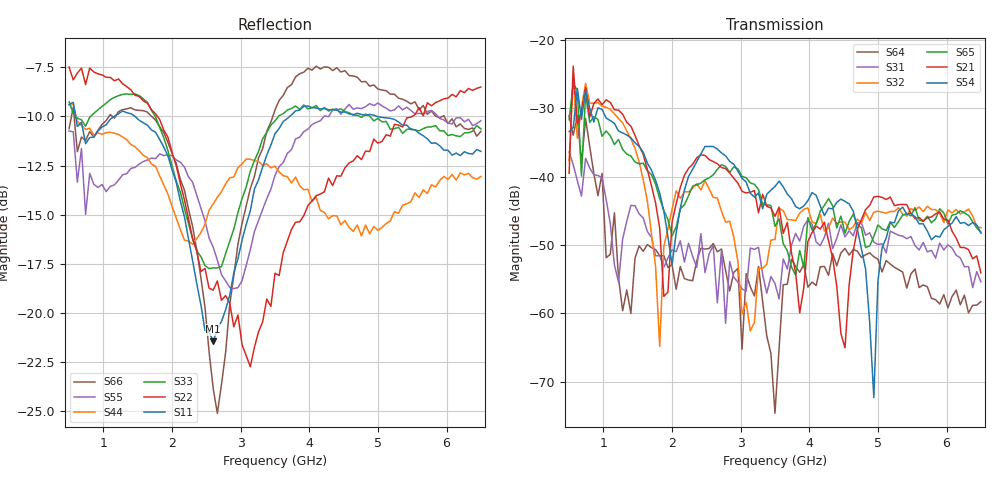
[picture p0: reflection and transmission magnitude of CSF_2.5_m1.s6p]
!Keysight Technologies,M9804A,MY58100912,A.14.10.03
!Date: Thursday, April 27, 2023 10:28:33
!Correction: S11(C  6-Port  )
!S12(C  6-Port  )
!S13(C  6-Port  )
!S14(C  6-Port  )
!S15(C  6-Port  )
!S16(C  6-Port  )
!S21(C  6-Port  )
!S22(C  6-Port  )
!S23(C  6-Port  )
!S24(C  6-Port  )
!S25(C  6-Port  )
!S26(C  6-Port  )
!S31(C  6-Port  )
!S32(C  6-Port  )
!S33(C  6-Port  )
!S34(C  6-Port  )
!S35(C  6-Port  )
!S36(C  6-Port  )
!S41(C  6-Port  )
!S42(C  6-Port  )
!S43(C  6-Port  )
!S44(C  6-Port  )
!S45(C  6-Port  )
!S46(C  6-Port  )
!S51(C  6-Port  )
!S52(C  6-Port  )
!S53(C  6-Port  )
!S54(C  6-Port  )
!S55(C  6-Port  )
!S56(C  6-Port  )
!S61(C  6-Port  )
!S62(C  6-Port  )
!S63(C  6-Port  )
!S64(C  6-Port  )
!S65(C  6-Port  )
!S66(C  6-Port  )
!S6P File: Measurement: :
# Hz S  RI  R 50
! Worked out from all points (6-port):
!   101 points, 500 MHz to 6.5 GHz, reference 50 ohm
!   strongest paths, dB at 500 MHz, 2 GHz, 3.5 GHz, 5 GHz, 6.5 GHz:
!     S54: -33.4, -52.9, -41.4, -55.3, -48.3
!     S21: -39.5, -46.6, -45.8, -42.9, -54.1
!     S65: -31.7, -48.7, -47.3, -47.1, -48.1
!     S32: -37.6, -44.8, -49.2, -45.0, -47.5
!     S31: -36.4, -50.7, -55.6, -49.9, -55.4
!     S64: -31.1, -52.9, -74.7, -52.1, -58.3
!   lowest |S11| = -21.4 dB at 2.6 GHz (marker M1), VSWR 1.19, Z = 42.5 + j2.27 ohm
!   |S11| at or under -10 dB: 595 MHz to 1.156 GHz (560.6 MHz wide, 64 % of centre); 1.463 GHz to 3.715 GHz (2.252 GHz wide, 87 % of centre); 4.988 GHz to end of sweep
